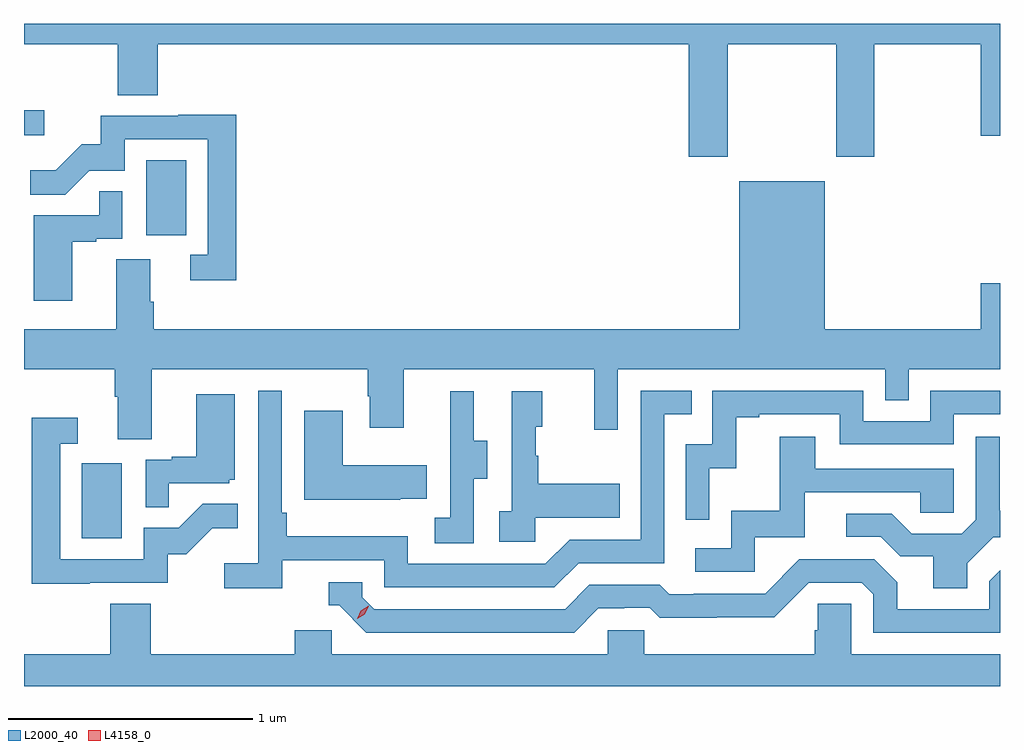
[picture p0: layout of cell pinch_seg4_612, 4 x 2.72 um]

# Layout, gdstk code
import gdstk
lib = gdstk.Library(unit=1e-6, precision=1e-09)
def R(c, l, rs):  # rectangles x0, y0, x1, y1
    for r in rs: c.add(gdstk.rectangle(r[:2], r[2:], *l))
def P(c, l, *ps):  # polygons
    for p in ps: c.add(gdstk.Polygon(p, *l))
L2000_40 = (2000, 40)
L4158_0 = (4158, 0)

pinch_seg4_612 = lib.new_cell('pinch_seg4_612')
R(pinch_seg4_612, L2000_40, [(1060.424,749.508,1060.588,749.815), (1060.688,750.75,1060.852,751.057), (1060.187,751.16,1060.27,751.262)])
P(pinch_seg4_612, L2000_40, [(1063.071,751.532),(1063.516,751.532),(1063.516,751.071),(1063.671,751.071),(1063.671,751.532),(1064.108,751.532),(1064.108,751.158),(1064.187,751.158),(1064.187,751.617),(1060.187,751.617),(1060.187,751.532),(1060.571,751.532),(1060.571,751.324),(1060.736,751.324),(1060.736,751.532),(1062.911,751.532),(1062.911,751.071),(1063.071,751.071)],
  [(1061.057,751.244),(1060.819,751.244),(1060.819,751.239),(1060.501,751.239),(1060.501,751.122),(1060.424,751.122),(1060.317,751.015),(1060.213,751.015),(1060.213,750.916),(1060.357,750.916),(1060.455,751.014),(1060.599,751.014),(1060.599,751.143),(1060.941,751.143),(1060.941,750.669),(1060.869,750.669),(1060.869,750.564),(1061.057,750.564)],
  [(1060.711,750.2),(1061.596,750.2),(1061.596,750.089),(1061.603,750.089),(1061.603,749.961),(1061.743,749.961),(1061.743,750.2),(1062.524,750.2),(1062.524,749.952),(1062.621,749.952),(1062.621,750.2),(1063.716,750.2),(1063.716,750.073),(1063.812,750.073),(1063.812,750.2),(1064.187,750.2),(1064.187,750.553),(1064.108,750.553),(1064.108,750.364),(1063.468,750.364),(1063.468,750.97),(1063.118,750.97),(1063.118,750.364),(1060.718,750.364),(1060.718,750.476),(1060.705,750.476),(1060.705,750.65),(1060.565,750.65),(1060.565,750.364),(1060.187,750.364),(1060.187,750.2),(1060.559,750.2),(1060.559,750.088),(1060.571,750.088),(1060.571,749.914),(1060.711,749.914)],
  [(1060.384,750.723),(1060.484,750.723),(1060.484,750.735),(1060.59,750.735),(1060.59,750.929),(1060.495,750.929),(1060.495,750.831),(1060.226,750.831),(1060.226,750.48),(1060.384,750.48)],
  [(1061.246,749.418),(1061.664,749.418),(1061.664,749.307),(1062.361,749.307),(1062.46,749.406),(1062.81,749.406),(1062.81,750.015),(1062.923,750.015),(1062.923,750.111),(1062.714,750.111),(1062.714,749.502),(1062.423,749.502),(1062.324,749.403),(1061.76,749.403),(1061.76,749.515),(1061.264,749.515),(1061.264,749.611),(1061.244,749.611),(1061.244,750.112),(1061.148,750.112),(1061.148,749.404),(1061.007,749.404),(1061.007,749.302),(1061.246,749.302)],
  [(1062.996,749.795),(1063.106,749.795),(1063.106,750.003),(1063.201,750.003),(1063.201,750.015),(1063.53,750.015),(1063.53,749.892),(1063.998,749.892),(1063.998,750.015),(1064.187,750.015),(1064.187,750.111),(1063.902,750.111),(1063.902,749.988),(1063.626,749.988),(1063.626,750.111),(1063.008,750.111),(1063.008,749.892),(1062.9,749.892),(1062.9,749.583),(1062.996,749.583)],
  [(1062.03,749.752),(1062.085,749.752),(1062.085,749.907),(1062.031,749.907),(1062.031,750.109),(1061.933,750.109),(1061.933,749.895),(1061.934,749.895),(1061.934,749.591),(1061.871,749.591),(1061.871,749.488),(1062.03,749.488)],
  [(1062.282,749.591),(1062.629,749.591),(1062.629,749.731),(1062.295,749.731),(1062.295,749.846),(1062.285,749.846),(1062.285,749.964),(1062.31,749.964),(1062.31,750.109),(1062.186,750.109),(1062.186,749.618),(1062.135,749.618),(1062.135,749.493),(1062.282,749.493)],
  [(1060.781,749.733),(1061.028,749.733),(1061.028,749.748),(1061.05,749.748),(1061.05,750.097),(1060.892,750.097),(1060.892,749.842),(1060.793,749.842),(1060.793,749.829),(1060.686,749.829),(1060.686,749.635),(1060.781,749.635)],
  [(1061.729,749.669),(1061.837,749.669),(1061.837,749.806),(1061.494,749.806),(1061.494,750.031),(1061.336,750.031),(1061.336,749.666),(1061.729,749.666)],
  [(1060.457,749.325),(1060.776,749.325),(1060.776,749.442),(1060.852,749.442),(1060.959,749.549),(1061.063,749.549),(1061.063,749.648),(1060.919,749.648),(1060.821,749.55),(1060.677,749.55),(1060.677,749.421),(1060.335,749.421),(1060.335,749.895),(1060.408,749.895),(1060.408,750.001),(1060.219,750.001),(1060.219,749.32),(1060.457,749.32)],
  [(1064.053,749.404),(1064.16,749.511),(1064.187,749.511),(1064.187,749.62),(1064.185,749.62),(1064.185,749.923),(1064.088,749.923),(1064.088,749.583),(1064.031,749.526),(1063.825,749.526),(1063.744,749.607),(1063.557,749.607),(1063.557,749.514),(1063.698,749.514),(1063.778,749.434),(1063.913,749.434),(1063.913,749.302),(1064.053,749.302)],
  [(1063.182,749.511),(1063.387,749.511),(1063.387,749.697),(1063.861,749.697),(1063.861,749.613),(1063.998,749.613),(1063.998,749.793),(1063.429,749.793),(1063.429,749.923),(1063.285,749.923),(1063.285,749.62),(1063.086,749.62),(1063.086,749.466),(1062.939,749.466),(1062.939,749.37),(1063.182,749.37)],
  [(1062.541,749.22),(1062.648,749.22),(1062.648,749.223),(1062.751,749.223),(1062.793,749.181),(1063.026,749.181),(1063.026,749.183),(1063.262,749.183),(1063.404,749.325),(1063.62,749.325),(1063.668,749.277),(1063.668,749.121),(1064.187,749.121),(1064.187,749.376),(1064.142,749.331),(1064.142,749.217),(1063.765,749.217),(1063.765,749.327),(1063.671,749.421),(1063.365,749.421),(1063.224,749.28),(1062.931,749.28),(1062.931,749.277),(1062.832,749.277),(1062.793,749.316),(1062.504,749.316),(1062.405,749.217),(1061.622,749.217),(1061.574,749.265),(1061.574,749.328),(1061.435,749.328),(1061.435,749.232),(1061.478,749.232),(1061.589,749.121),(1062.442,749.121)],
  [(1064.187,749.032),(1063.578,749.032),(1063.578,749.24),(1063.441,749.24),(1063.441,749.13),(1063.427,749.13),(1063.427,749.032),(1062.729,749.032),(1062.729,749.13),(1062.579,749.13),(1062.579,749.032),(1061.448,749.032),(1061.448,749.13),(1061.297,749.13),(1061.297,749.032),(1060.706,749.032),(1060.706,749.24),(1060.541,749.24),(1060.541,749.032),(1060.187,749.032),(1060.187,748.9),(1064.187,748.9)])
P(pinch_seg4_612, L4158_0, [(1061.552,749.178),(1061.552,749.178),(1061.568,749.211),(1061.599,749.23),(1061.599,749.23),(1061.599,749.23),(1061.583,749.197),(1061.552,749.178)])

lib.write_gds('pinch_seg4_612.gds')
